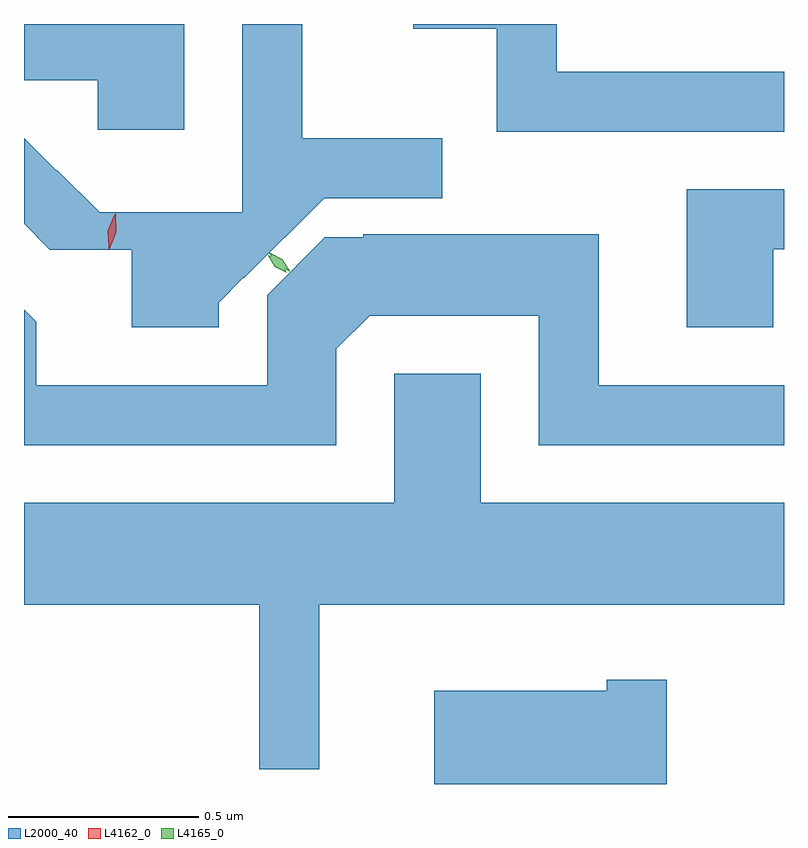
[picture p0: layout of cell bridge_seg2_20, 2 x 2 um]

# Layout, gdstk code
import gdstk
lib = gdstk.Library(unit=1e-6, precision=1e-09)
def P(c, l, *ps):  # polygons
    for p in ps: c.add(gdstk.Polygon(p, *l))
L2000_40 = (2000, 40)
L4162_0 = (4162, 0)
L4165_0 = (4165, 0)

bridge_seg2_20 = lib.new_cell('bridge_seg2_20')
P(bridge_seg2_20, L2000_40, [(1664.919,1014.324),(1664.497,1014.324),(1664.497,1014.176),(1664.691,1014.176),(1664.691,1014.046),(1664.919,1014.046)],
  [(1666.497,1014.199),(1665.899,1014.199),(1665.899,1014.324),(1665.521,1014.324),(1665.521,1014.311),(1665.741,1014.311),(1665.741,1014.041),(1666.497,1014.041)],
  [(1665.009,1013.591),(1665.074,1013.656),(1665.075,1013.655),(1665.287,1013.866),(1665.598,1013.866),(1665.598,1014.024),(1665.229,1014.024),(1665.229,1014.324),(1665.071,1014.324),(1665.071,1013.828),(1664.696,1013.828),(1664.584,1013.939),(1664.583,1013.938),(1664.497,1014.024),(1664.497,1013.798),(1664.565,1013.73),(1664.781,1013.73),(1664.781,1013.526),(1665.009,1013.526)],
  [(1666.469,1013.731),(1666.497,1013.731),(1666.497,1013.889),(1666.241,1013.889),(1666.241,1013.526),(1666.469,1013.526)],
  [(1665.319,1013.469),(1665.407,1013.556),(1665.851,1013.556),(1665.851,1013.216),(1666.497,1013.216),(1666.497,1013.374),(1666.009,1013.374),(1666.009,1013.771),(1665.39,1013.771),(1665.39,1013.763),(1665.289,1013.763),(1665.137,1013.61),(1665.137,1013.374),(1664.529,1013.374),(1664.529,1013.54),(1664.497,1013.572),(1664.497,1013.216),(1665.319,1013.216)],
  [(1665.274,1012.796),(1666.497,1012.796),(1666.497,1013.064),(1665.699,1013.064),(1665.699,1013.404),(1665.471,1013.404),(1665.471,1013.064),(1664.497,1013.064),(1664.497,1012.796),(1665.116,1012.796),(1665.116,1012.363),(1665.274,1012.363)],
  [(1666.189,1012.599),(1666.031,1012.599),(1666.031,1012.569),(1665.576,1012.569),(1665.576,1012.324),(1666.189,1012.324)])
P(bridge_seg2_20, L4162_0, [(1664.72,1013.735),(1664.72,1013.736),(1664.718,1013.78),(1664.735,1013.821),(1664.736,1013.822),(1664.736,1013.821),(1664.738,1013.777),(1664.721,1013.736)],
  [(1664.72,1013.73),(1664.72,1013.73),(1664.72,1013.78),(1664.738,1013.826),(1664.739,1013.827),(1664.739,1013.826),(1664.74,1013.776),(1664.721,1013.73)])
P(bridge_seg2_20, L4165_0, [(1665.188,1013.67),(1665.157,1013.685),(1665.14,1013.714),(1665.14,1013.715),(1665.14,1013.715),(1665.171,1013.7),(1665.188,1013.67),(1665.188,1013.67)],
  [(1665.195,1013.674),(1665.163,1013.69),(1665.143,1013.721),(1665.143,1013.722),(1665.144,1013.722),(1665.176,1013.705),(1665.196,1013.675),(1665.196,1013.674)])

lib.write_gds('bridge_seg2_20.gds')
